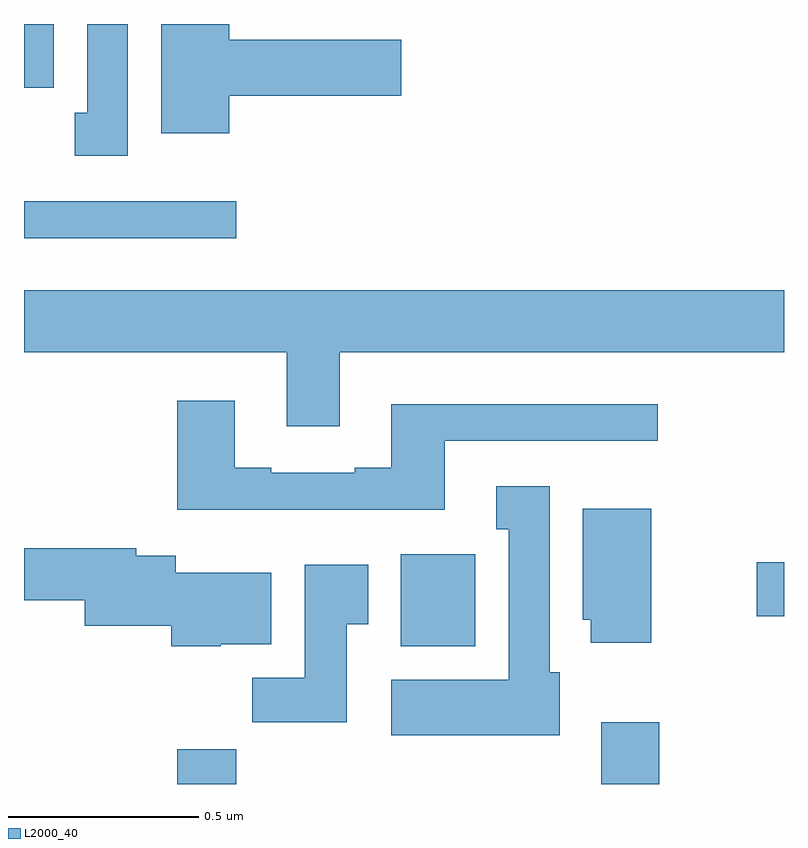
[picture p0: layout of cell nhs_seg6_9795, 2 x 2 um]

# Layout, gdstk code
import gdstk
lib = gdstk.Library(unit=1e-6, precision=1e-09)
def R(c, l, rs):  # rectangles x0, y0, x1, y1
    for r in rs: c.add(gdstk.rectangle(r[:2], r[2:], *l))
def P(c, l, *ps):  # polygons
    for p in ps: c.add(gdstk.Polygon(p, *l))
L2000_40 = (2000, 40)

nhs_seg6_9795 = lib.new_cell('nhs_seg6_9795')
R(nhs_seg6_9795, L2000_40, [(238.403,979.5,238.559,979.592), (239.519,979.5,239.672,979.663), (238.991,979.862,239.188,980.104), (239.928,979.942,240,980.084), (238,980.936,238.558,981.033), (238,981.332,238.078,981.5)])
P(nhs_seg6_9795, L2000_40, [(238.54,981.311),(238.993,981.311),(238.993,981.458),(238.54,981.458),(238.54,981.5),(238.361,981.5),(238.361,981.212),(238.54,981.212)],
  [(238.273,981.5),(238.166,981.5),(238.166,981.266),(238.133,981.266),(238.133,981.153),(238.273,981.153)],
  [(238.831,980.636),(240,980.636),(240,980.8),(238,980.8),(238,980.636),(238.691,980.636),(238.691,980.442),(238.831,980.442)],
  [(239.107,980.403),(239.668,980.403),(239.668,980.5),(238.967,980.5),(238.967,980.332),(238.871,980.332),(238.871,980.319),(238.651,980.319),(238.651,980.332),(238.555,980.332),(238.555,980.509),(238.403,980.509),(238.403,980.222),(239.107,980.222)],
  [(239.41,979.794),(239.383,979.794),(239.383,980.284),(239.243,980.284),(239.243,980.171),(239.276,980.171),(239.276,979.774),(238.967,979.774),(238.967,979.628),(239.41,979.628)],
  [(239.65,980.224),(239.471,980.224),(239.471,979.932),(239.492,979.932),(239.492,979.872),(239.65,979.872)],
  [(238.518,979.868),(238.651,979.868),(238.651,980.056),(238.399,980.056),(238.399,980.101),(238.295,980.101),(238.295,980.12),(238,980.12),(238,979.984),(238.16,979.984),(238.16,979.916),(238.388,979.916),(238.388,979.862),(238.518,979.862)],
  [(238.849,979.921),(238.906,979.921),(238.906,980.077),(238.739,980.077),(238.739,979.78),(238.6,979.78),(238.6,979.662),(238.849,979.662)])

lib.write_gds('nhs_seg6_9795.gds')
